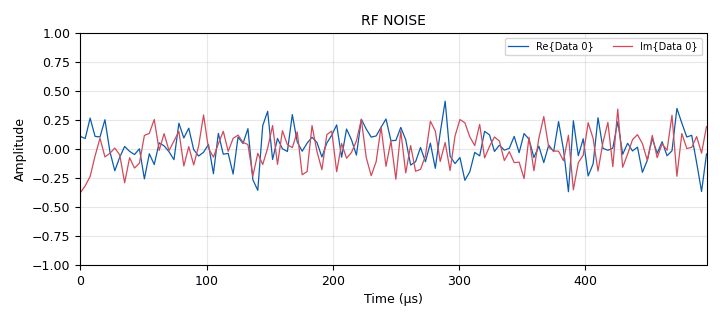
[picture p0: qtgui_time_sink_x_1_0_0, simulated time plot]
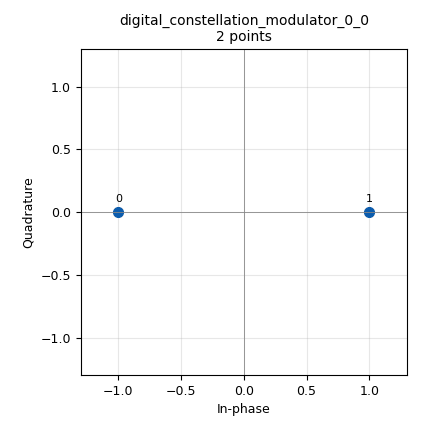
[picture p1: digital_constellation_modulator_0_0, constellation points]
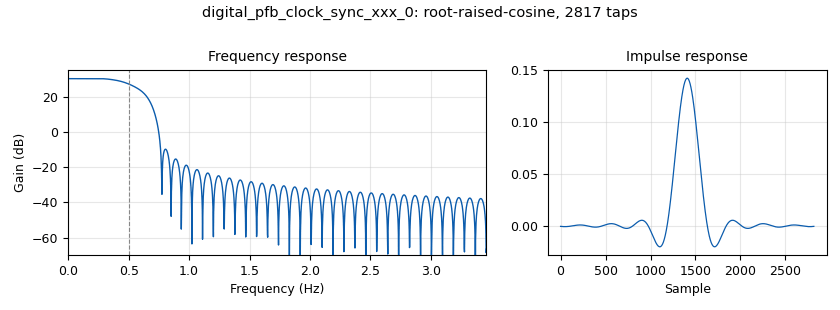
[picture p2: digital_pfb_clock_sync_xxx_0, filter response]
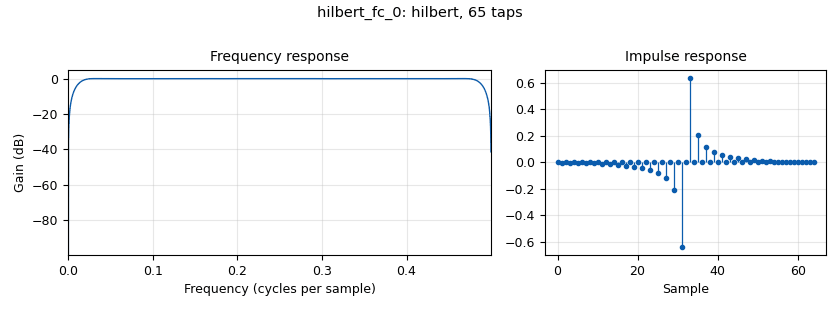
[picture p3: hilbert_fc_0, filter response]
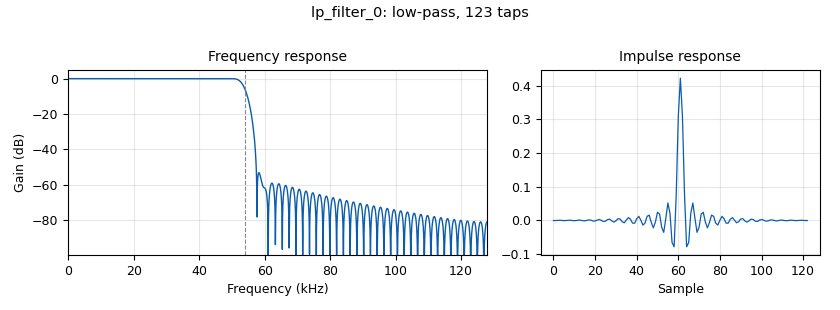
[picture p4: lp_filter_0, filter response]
options:
  parameters:
    generate_options: qt_gui
    id: TestbuildupCCSDS
    output_language: python
    title: Not titled yet
  states: {}

blocks:
- name: access_code
  id: variable
  parameters:
    value: '''''.join([str(i) for i in (syncword+1)//2])'
  states: {}
- name: constel
  id: variable_constellation
  parameters:
    const_points: digital.psk_2()[0]
    dims: '1'
    normalization: digital.constellation.AMPLITUDE_NORMALIZATION
    precision: '8'
    rot_sym: '4'
    soft_dec_lut: '''auto'''
    sym_map: digital.psk_2()[1]
    type: calcdist
  states: {}
- name: cutoff_high
  id: variable
  parameters:
    value: '54000'
  states: {}
- name: frac_bw
  id: variable_qtgui_label
  parameters:
    formatter: 'lambda x: "%0.2f"%x'
    gui_hint: 0,2,1,1
    label: Fractional Bandwidth
    type: real
    value: '.45'
  states: {}
- name: freq_update
  id: variable_function_probe
  parameters:
    block_id: doppler_bin
    function_name: level
    poll_rate: '16'
    value: '0'
  states: {}
- name: lp_taps_0
  id: variable_low_pass_filter_taps
  parameters:
    cutoff_freq: cutoff_high
    gain: '1.0'
    samp_rate: samp_rate/4
    width: transition
    win: window.WIN_HAMMING
  states: {}
- name: new_rate
  id: variable_qtgui_label
  parameters:
    gui_hint: 0,1,1,1
    label: Resampling Rate
    type: real
    value: samp_rate
  states: {}
- name: nfilts
  id: variable
  parameters:
    value: '32'
  states: {}
- name: nphases
  id: variable
  parameters:
    value: '32'
  states: {}
- name: rs_taps
  id: variable
  parameters:
    value: firdes.low_pass(nphases, nphases, frac_bw, 0.5-frac_bw)
  states: {}
- name: samp_rate
  id: variable
  parameters:
    value: '1024000'
  states: {}
- name: sps
  id: variable
  parameters:
    value: '8'
  states: {}
- name: syncword
  id: variable
  parameters:
    value: 2*np.unpackbits(np.frombuffer(bytes.fromhex(syncword_hex), dtype = 'uint8')).astype('int')-1
  states: {}
- name: syncword_hex
  id: variable
  parameters:
    value: '''1ACFFC1D'''
  states: {}
- name: transition
  id: variable
  parameters:
    value: '5000'
  states: {}
- name: variable_cc_decoder_def_0
  id: variable_cc_decoder_def
  parameters:
    framebits: '2072'
    k: '7'
    mode: fec.CC_STREAMING
    ndim: '0'
    padding: 'False'
    polys: '[79,-109]'
    rate: '2'
    state_end: '-1'
    state_start: '0'
  states: {}
- name: variable_cc_decoder_def_1
  id: variable_cc_decoder_def
  parameters:
    framebits: '2072'
    k: '7'
    mode: fec.CC_STREAMING
    ndim: '0'
    padding: 'False'
    polys: '[79,-109]'
    rate: '2'
    state_end: '-1'
    state_start: '0'
  states: {}
- name: variable_cc_decoder_def_2
  id: variable_cc_decoder_def
  parameters:
    framebits: '2072'
    k: '7'
    mode: fec.CC_STREAMING
    ndim: '0'
    padding: 'False'
    polys: '[79,-109]'
    rate: '2'
    state_end: '-1'
    state_start: '0'
  states: {}
- name: variable_cc_decoder_def_3
  id: variable_cc_decoder_def
  parameters:
    framebits: '2072'
    k: '7'
    mode: fec.CC_STREAMING
    ndim: '0'
    padding: 'False'
    polys: '[79,-109]'
    rate: '2'
    state_end: '-1'
    state_start: '0'
  states: {}
- name: variable_cc_encoder_def_0
  id: variable_cc_encoder_def
  parameters:
    framebits: '2072'
    k: '7'
    mode: fec.CC_STREAMING
    ndim: '0'
    padding: 'False'
    polys: '[79,-109]'
    rate: '2'
    state_start: '0'
  states: {}
- name: Doppler_Rotate_Correction_x_0_0
  id: analog_sig_source_x
  parameters:
    amp: '1'
    freq: '-1*freq_update'
    offset: '0'
    phase: '0'
    samp_rate: samp_rate
    type: complex
    waveform: analog.GR_COS_WAVE
  states: {}
- name: Doppler_Start_blocks_keep_m_in_n_0
  id: blocks_keep_m_in_n
  parameters:
    m: '2048'
    n: '64000'
    offset: '0'
    type: complex
  states: {}
- name: HighDataRate_Modem_Decode_RS_0
  id: HighDataRate_Modem_Decode_RS
  parameters:
    dual_basis: '1'
    interleave: '1'
  states: {}
- name: HighDataRate_Modem_Encode_RS_0
  id: HighDataRate_Modem_Encode_RS
  parameters:
    dual_basis: '1'
    interleave: '1'
  states: {}
- name: analog_const_source_x_0
  id: analog_const_source_x
  parameters:
    const: '500'
    type: float
  states: {}
- name: analog_noise_source_x_0
  id: analog_noise_source_x
  parameters:
    amp: 1/0.75*2.25/1.4/10.0
    noise_type: analog.GR_GAUSSIAN
    seed: '0'
    type: complex
  states: {}
- name: analog_phase_modulator_fc_0
  id: analog_phase_modulator_fc
  parameters:
    sensitivity: '1.0'
  states: {}
- name: analog_pll_carriertracking_cc_0
  id: analog_pll_carriertracking_cc
  parameters:
    max_freq: 5000*2*3.14159/256000/4
    min_freq: '-5000*2*3.14159/256000/4'
    w: 200*2*3.14159/256000/4
  states: {}
- name: analog_sig_source_x_0
  id: analog_sig_source_x
  parameters:
    amp: '1'
    freq: '-50000'
    offset: '0'
    phase: '0'
    samp_rate: samp_rate
    type: complex
    waveform: analog.GR_COS_WAVE
  states: {}
- name: analog_sig_source_x_0_0
  id: analog_sig_source_x
  parameters:
    amp: '1'
    freq: '50000'
    offset: '0'
    phase: '0'
    samp_rate: samp_rate
    type: complex
    waveform: analog.GR_COS_WAVE
  states: {}
- name: analog_sig_source_x_0_2
  id: analog_sig_source_x
  parameters:
    amp: '80000'
    freq: '0.002'
    offset: '0'
    phase: '0'
    samp_rate: samp_rate
    type: float
    waveform: analog.GR_COS_WAVE
  states: {}
- name: blocks_add_const_vxx_0
  id: blocks_add_const_vxx
  parameters:
    const: '-512000'
    type: float
  states: {}
- name: blocks_add_xx_0
  id: blocks_add_xx
  parameters:
    type: complex
  states: {}
- name: blocks_argmax_xx_0
  id: blocks_argmax_xx
  parameters:
    num_inputs: '1'
    type: float
    vlen: '2048'
  states: {}
- name: blocks_complex_to_float_0
  id: blocks_complex_to_float
  parameters: {}
  states: {}
- name: blocks_complex_to_mag_squared_0
  id: blocks_complex_to_mag_squared
  parameters:
    vlen: '2048'
  states: {}
- name: blocks_complex_to_real_0
  id: blocks_complex_to_real
  parameters: {}
  states: {}
- name: blocks_complex_to_real_0_0_0
  id: blocks_complex_to_real
  parameters: {}
  states: {}
- name: blocks_file_sink_0
  id: blocks_file_sink
  parameters:
    file: /home/davem/gr-HighDataRate_Modem/examples/Doppler_And_CCSDS_TTC_Flowgraphs_LowRate/CCSDS_TTC_SINK
    type: byte
  states: {}
- name: blocks_file_source_0_0_0_0_0
  id: blocks_file_source
  parameters:
    affinity: '1'
    file: /home/davem/gr-HighDataRate_Modem/examples/Doppler_And_CCSDS_TTC_Flowgraphs_LowRate/32bitASM_CCSDS_only
    repeat: 'True'
    type: byte
  states: {}
- name: blocks_file_source_0_0_0_0_0_0
  id: blocks_file_source
  parameters:
    affinity: '1'
    file: /home/davem/gr-HighDataRate_Modem/examples/Doppler_And_CCSDS_TTC_Flowgraphs_LowRate/Just_CCSDS_Frame_counter
    repeat: 'True'
    type: byte
  states: {}
- name: blocks_keep_one_in_n_0
  id: blocks_keep_one_in_n
  parameters:
    n: '2'
    type: complex
  states: {}
- name: blocks_multiply_const_vxx_0
  id: blocks_multiply_const_vxx
  parameters:
    const: '-1'
    type: float
  states: {}
- name: blocks_multiply_const_vxx_0_0
  id: blocks_multiply_const_vxx
  parameters:
    const: '-1'
    type: float
  states: {}
- name: blocks_multiply_const_vxx_0_1
  id: blocks_multiply_const_vxx
  parameters:
    const: '1.0'
    type: complex
  states: {}
- name: blocks_multiply_xx_0
  id: blocks_multiply_xx
  parameters:
    type: complex
  states: {}
- name: blocks_multiply_xx_0_0
  id: blocks_multiply_xx
  parameters:
    type: complex
  states: {}
- name: blocks_multiply_xx_0_0_0
  id: blocks_multiply_xx
  parameters:
    type: complex
  states: {}
- name: blocks_multiply_xx_0_0_1
  id: blocks_multiply_xx
  parameters:
    type: complex
  states: {}
- name: blocks_multiply_xx_1
  id: blocks_multiply_xx
  parameters:
    type: float
  states: {}
- name: blocks_null_sink_0
  id: blocks_null_sink
  parameters:
    type: float
  states: {}
- name: blocks_null_sink_0_0
  id: blocks_null_sink
  parameters:
    type: short
  states: {}
- name: blocks_pack_k_bits_bb_0
  id: blocks_pack_k_bits_bb
  parameters:
    k: '8'
  states: {}
- name: blocks_pack_k_bits_bb_0_0
  id: blocks_pack_k_bits_bb
  parameters:
    k: '8'
  states: {}
- name: blocks_short_to_float_0
  id: blocks_short_to_float
  parameters:
    scale: '1'
  states: {}
- name: blocks_skiphead_0
  id: blocks_skiphead
  parameters:
    num_items: '1'
    type: float
  states: {}
- name: blocks_skiphead_0_0_0
  id: blocks_skiphead
  parameters:
    num_items: '1'
    type: float
  states: {}
- name: blocks_stream_mux_0
  id: blocks_stream_mux
  parameters:
    lengths: (32, 2040)
    type: byte
  states: {}
- name: blocks_stream_to_tagged_stream_0_0_0
  id: blocks_stream_to_tagged_stream
  parameters:
    len_tag_key: '"packet_len"'
    packet_len: '223'
    type: byte
  states: {}
- name: blocks_stream_to_tagged_stream_0_0_1
  id: blocks_stream_to_tagged_stream
  parameters:
    len_tag_key: '"packet_len"'
    packet_len: '2040'
    type: byte
  states: {}
- name: blocks_stream_to_vector_0
  id: blocks_stream_to_vector
  parameters:
    num_items: '2048'
    type: complex
  states: {}
- name: blocks_stream_to_vector_2_0
  id: blocks_stream_to_vector
  parameters:
    num_items: '223'
    type: byte
  states: {}
- name: blocks_stream_to_vector_2_0_0
  id: blocks_stream_to_vector
  parameters:
    affinity: '3'
    num_items: '255'
    type: byte
  states: {}
- name: blocks_throttle_0_0
  id: blocks_throttle
  parameters:
    samples_per_second: samp_rate
    type: complex
  states: {}
- name: blocks_unpack_k_bits_bb_0_0_0_0_0
  id: blocks_unpack_k_bits_bb
  parameters:
    k: '8'
  states: {}
- name: blocks_vco_c_0
  id: blocks_vco_c
  parameters:
    amplitude: '1'
    samp_rate: samp_rate
    sensitivity: '6.28'
  states: {}
- name: blocks_vector_to_stream_0
  id: blocks_vector_to_stream
  parameters:
    num_items: '223'
    type: byte
  states: {}
- name: blocks_vector_to_stream_0_1
  id: blocks_vector_to_stream
  parameters:
    num_items: '255'
    type: byte
  states: {}
- name: digital_additive_scrambler_bb_0
  id: digital_additive_scrambler_bb
  parameters:
    bits_per_byte: '1'
    count: '0'
    len: '7'
    mask: '0xA9'
    reset_tag_key: '"packet_len"'
    seed: '0xFF'
  states: {}
- name: digital_additive_scrambler_bb_0_0
  id: digital_additive_scrambler_bb
  parameters:
    bits_per_byte: '1'
    count: '0'
    len: '7'
    mask: '0xA9'
    reset_tag_key: '"packet_len"'
    seed: '0xFF'
  states: {}
- name: digital_constellation_modulator_0_0
  id: digital_constellation_modulator
  parameters:
    constellation: constel
    differential: 'False'
    excess_bw: '0.5'
    samples_per_symbol: '8'
  states: {}
- name: digital_costas_loop_cc_0_0
  id: digital_costas_loop_cc
  parameters:
    order: '2'
    w: 2*3.14159/1000
  states: {}
- name: digital_pfb_clock_sync_xxx_0
  id: digital_pfb_clock_sync_xxx
  parameters:
    filter_size: '32'
    init_phase: '0'
    loop_bw: 3.14159/100.0
    max_dev: '1.5'
    osps: '1'
    sps: '8'
    taps: firdes.root_raised_cosine(32,64*4,1.0,0.5,704*4)
    type: ccf
  states: {}
- name: doppler_bin
  id: blocks_probe_signal_x
  parameters:
    type: float
  states: {}
- name: fec_extended_decoder_0
  id: fec_extended_decoder
  parameters:
    decoder_list: variable_cc_decoder_def_0
    puncpat: '''11'''
    threadtype: capillary
  states: {}
- name: fec_extended_decoder_0_0
  id: fec_extended_decoder
  parameters:
    decoder_list: variable_cc_decoder_def_1
    puncpat: '''11'''
    threadtype: capillary
  states: {}
- name: fec_extended_decoder_0_1
  id: fec_extended_decoder
  parameters:
    decoder_list: variable_cc_decoder_def_2
    puncpat: '''11'''
    threadtype: capillary
  states: {}
- name: fec_extended_decoder_0_2
  id: fec_extended_decoder
  parameters:
    decoder_list: variable_cc_decoder_def_3
    puncpat: '''11'''
    threadtype: capillary
  states: {}
- name: fec_extended_encoder_0
  id: fec_extended_encoder
  parameters:
    encoder_list: variable_cc_encoder_def_0
    puncpat: '''11'''
    threadtype: capillary
  states: {}
- name: fft_vxx_0
  id: fft_vxx
  parameters:
    fft_size: '2048'
    forward: 'True'
    shift: 'True'
    type: complex
    window: window.blackmanharris(2048)
  states: {}
- name: hilbert_fc_0
  id: hilbert_fc
  parameters:
    num_taps: '65'
  states: {}
- name: import_0
  id: import
  parameters:
    imports: from math import pi
  states: {}
- name: import_1
  id: import
  parameters:
    imports: import numpy as np
  states: {}
- name: lp_filter_0
  id: fir_filter_xxx
  parameters:
    comment: Low-pass filter
    decim: '8'
    taps: lp_taps_0
    type: ccc
  states: {}
- name: pdu_pdu_to_tagged_stream_0_1
  id: pdu_pdu_to_tagged_stream
  parameters:
    tag: packet_len
    type: byte
  states: {}
- name: pfb_arb_resampler_xxx_0
  id: pfb_arb_resampler_xxx
  parameters:
    atten: '100'
    nfilts: nphases
    rrate: 8*float(new_rate)/samp_rate
    taps: rs_taps
    type: ccf
  states: {}
- name: qtgui_const_sink_x_0_0
  id: qtgui_const_sink_x
  parameters:
    gui_hint: 1,0
    legend: 'False'
    name: BPSK constellation
    size: '1024'
    type: complex
    update_time: '0.50'
  states: {}
- name: qtgui_freq_sink_x_0
  id: qtgui_freq_sink_x
  parameters:
    average: '0.1'
    bw: samp_rate/8
    fc: '0'
    fftsize: '1024'
    name: Pre-ClockSYNC
    type: complex
    ymax: '-10'
    ymin: '-60'
  states: {}
- name: qtgui_freq_sink_x_0_0
  id: qtgui_freq_sink_x
  parameters:
    bw: samp_rate/2
    fc: '0'
    fftsize: '1024'
    name: '"TX"'
    type: complex
    update_time: '0.5'
    ymax: '-10'
    ymin: '-60'
  states: {}
- name: qtgui_freq_sink_x_0_0_0
  id: qtgui_freq_sink_x
  parameters:
    bw: samp_rate
    fc: '0'
    fftsize: '1024'
    name: '"After Doppler Correction"'
    type: complex
    update_time: '0.5'
    ymax: '-10'
    ymin: '-60'
  states: {}
- name: qtgui_number_sink_0
  id: qtgui_number_sink
  parameters:
    graph_type: qtgui.NUM_GRAPH_HORIZ
    type: float
  states: {}
- name: qtgui_time_sink_x_1_0_0
  id: qtgui_time_sink_x
  parameters:
    name: RF NOISE
    size: '128'
    srate: samp_rate/4
    type: complex
    update_time: '1.0'
  states: {}
- name: satellites_sync_to_pdu_1_0
  id: satellites_sync_to_pdu
  parameters:
    packlen: '2040'
    sync: access_code
    threshold: '1'
  states: {}
- name: satellites_sync_to_pdu_1_0_0
  id: satellites_sync_to_pdu
  parameters:
    packlen: '2040'
    sync: access_code
    threshold: '1'
  states: {}
- name: satellites_sync_to_pdu_1_0_0_0
  id: satellites_sync_to_pdu
  parameters:
    packlen: '2040'
    sync: access_code
    threshold: '1'
  states: {}
- name: satellites_sync_to_pdu_1_0_1
  id: satellites_sync_to_pdu
  parameters:
    packlen: '2040'
    sync: access_code
    threshold: '1'
  states: {}

connections:
- [Doppler_Rotate_Correction_x_0_0, '0', blocks_multiply_xx_0_0_0, '1']
- [Doppler_Start_blocks_keep_m_in_n_0, '0', blocks_stream_to_vector_0, '0']
- [HighDataRate_Modem_Decode_RS_0, '0', blocks_vector_to_stream_0, '0']
- [HighDataRate_Modem_Encode_RS_0, '0', blocks_vector_to_stream_0_1, '0']
- [analog_const_source_x_0, '0', blocks_multiply_xx_1, '1']
- [analog_noise_source_x_0, '0', blocks_add_xx_0, '1']
- [analog_noise_source_x_0, '0', qtgui_time_sink_x_1_0_0, '0']
- [analog_phase_modulator_fc_0, '0', blocks_multiply_xx_0, '0']
- [analog_pll_carriertracking_cc_0, '0', blocks_complex_to_float_0, '0']
- [analog_sig_source_x_0, '0', blocks_multiply_xx_0_0, '1']
- [analog_sig_source_x_0_0, '0', blocks_multiply_xx_0_0_1, '0']
- [analog_sig_source_x_0_2, '0', blocks_vco_c_0, '0']
- [blocks_add_const_vxx_0, '0', doppler_bin, '0']
- [blocks_add_xx_0, '0', blocks_keep_one_in_n_0, '0']
- [blocks_add_xx_0, '0', blocks_throttle_0_0, '0']
- [blocks_argmax_xx_0, '0', blocks_short_to_float_0, '0']
- [blocks_argmax_xx_0, '1', blocks_null_sink_0_0, '0']
- [blocks_complex_to_float_0, '0', blocks_null_sink_0, '0']
- [blocks_complex_to_float_0, '1', hilbert_fc_0, '0']
- [blocks_complex_to_mag_squared_0, '0', blocks_argmax_xx_0, '0']
- [blocks_complex_to_real_0, '0', blocks_multiply_const_vxx_0, '0']
- [blocks_complex_to_real_0, '0', blocks_multiply_const_vxx_0_0, '0']
- [blocks_complex_to_real_0, '0', blocks_skiphead_0, '0']
- [blocks_complex_to_real_0, '0', fec_extended_decoder_0, '0']
- [blocks_complex_to_real_0_0_0, '0', analog_phase_modulator_fc_0, '0']
- [blocks_file_source_0_0_0_0_0, '0', blocks_stream_mux_0, '0']
- [blocks_file_source_0_0_0_0_0_0, '0', blocks_stream_to_tagged_stream_0_0_0, '0']
- [blocks_keep_one_in_n_0, '0', qtgui_freq_sink_x_0_0, '0']
- [blocks_multiply_const_vxx_0, '0', fec_extended_decoder_0_1, '0']
- [blocks_multiply_const_vxx_0_0, '0', blocks_skiphead_0_0_0, '0']
- [blocks_multiply_const_vxx_0_1, '0', Doppler_Start_blocks_keep_m_in_n_0, '0']
- [blocks_multiply_const_vxx_0_1, '0', blocks_multiply_xx_0_0_0, '0']
- [blocks_multiply_xx_0, '0', blocks_add_xx_0, '0']
- [blocks_multiply_xx_0_0, '0', lp_filter_0, '0']
- [blocks_multiply_xx_0_0_0, '0', analog_pll_carriertracking_cc_0, '0']
- [blocks_multiply_xx_0_0_0, '0', qtgui_freq_sink_x_0_0_0, '0']
- [blocks_multiply_xx_0_0_1, '0', blocks_complex_to_real_0_0_0, '0']
- [blocks_multiply_xx_1, '0', blocks_add_const_vxx_0, '0']
- [blocks_pack_k_bits_bb_0, '0', digital_constellation_modulator_0_0, '0']
- [blocks_pack_k_bits_bb_0_0, '0', blocks_stream_to_vector_2_0_0, '0']
- [blocks_short_to_float_0, '0', blocks_multiply_xx_1, '0']
- [blocks_short_to_float_0, '0', qtgui_number_sink_0, '0']
- [blocks_skiphead_0, '0', fec_extended_decoder_0_0, '0']
- [blocks_skiphead_0_0_0, '0', fec_extended_decoder_0_2, '0']
- [blocks_stream_mux_0, '0', fec_extended_encoder_0, '0']
- [blocks_stream_to_tagged_stream_0_0_0, '0', blocks_stream_to_vector_2_0, '0']
- [blocks_stream_to_tagged_stream_0_0_1, '0', digital_additive_scrambler_bb_0, '0']
- [blocks_stream_to_vector_0, '0', fft_vxx_0, '0']
- [blocks_stream_to_vector_2_0, '0', HighDataRate_Modem_Encode_RS_0, '0']
- [blocks_stream_to_vector_2_0_0, '0', HighDataRate_Modem_Decode_RS_0, '0']
- [blocks_throttle_0_0, '0', blocks_multiply_const_vxx_0_1, '0']
- [blocks_unpack_k_bits_bb_0_0_0_0_0, '0', blocks_stream_to_tagged_stream_0_0_1, '0']
- [blocks_vco_c_0, '0', blocks_multiply_xx_0, '1']
- [blocks_vector_to_stream_0, '0', blocks_file_sink_0, '0']
- [blocks_vector_to_stream_0_1, '0', blocks_unpack_k_bits_bb_0_0_0_0_0, '0']
- [digital_additive_scrambler_bb_0, '0', blocks_stream_mux_0, '1']
- [digital_additive_scrambler_bb_0_0, '0', blocks_pack_k_bits_bb_0_0, '0']
- [digital_constellation_modulator_0_0, '0', pfb_arb_resampler_xxx_0, '0']
- [digital_costas_loop_cc_0_0, '0', blocks_complex_to_real_0, '0']
- [digital_costas_loop_cc_0_0, '0', qtgui_const_sink_x_0_0, '0']
- [digital_pfb_clock_sync_xxx_0, '0', digital_costas_loop_cc_0_0, '0']
- [fec_extended_decoder_0, '0', satellites_sync_to_pdu_1_0_1, '0']
- [fec_extended_decoder_0_0, '0', satellites_sync_to_pdu_1_0, '0']
- [fec_extended_decoder_0_1, '0', satellites_sync_to_pdu_1_0_0, '0']
- [fec_extended_decoder_0_2, '0', satellites_sync_to_pdu_1_0_0_0, '0']
- [fec_extended_encoder_0, '0', blocks_pack_k_bits_bb_0, '0']
- [fft_vxx_0, '0', blocks_complex_to_mag_squared_0, '0']
- [hilbert_fc_0, '0', blocks_multiply_xx_0_0, '0']
- [lp_filter_0, '0', digital_pfb_clock_sync_xxx_0, '0']
- [lp_filter_0, '0', qtgui_freq_sink_x_0, '0']
- [pdu_pdu_to_tagged_stream_0_1, '0', digital_additive_scrambler_bb_0_0, '0']
- [pfb_arb_resampler_xxx_0, '0', blocks_multiply_xx_0_0_1, '1']
- [satellites_sync_to_pdu_1_0, out, pdu_pdu_to_tagged_stream_0_1, pdus]
- [satellites_sync_to_pdu_1_0_0, out, pdu_pdu_to_tagged_stream_0_1, pdus]
- [satellites_sync_to_pdu_1_0_0_0, out, pdu_pdu_to_tagged_stream_0_1, pdus]
- [satellites_sync_to_pdu_1_0_1, out, pdu_pdu_to_tagged_stream_0_1, pdus]

metadata:
  file_format: 1
  grc_version: 3.10.5.0
